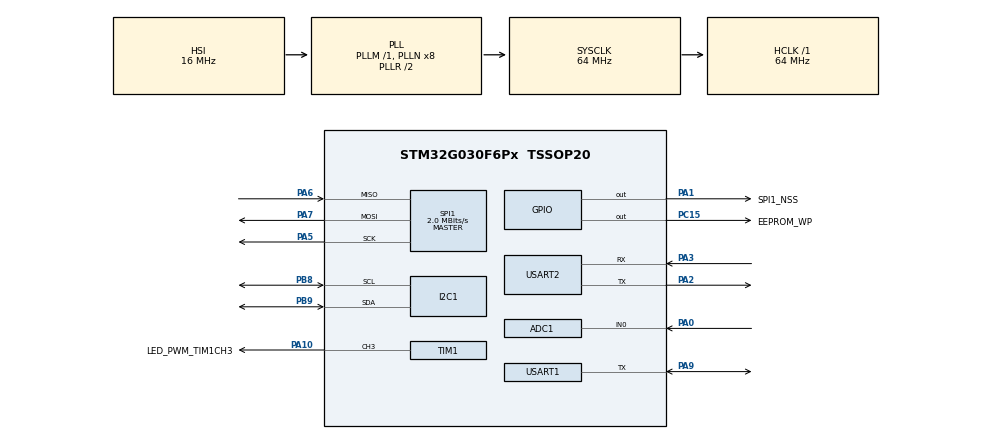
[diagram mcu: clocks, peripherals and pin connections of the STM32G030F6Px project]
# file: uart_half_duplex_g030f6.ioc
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ADC1.Channel-3\#ChannelRegularConversion=ADC_CHANNEL_0
ADC1.NbrOfConversionFlag=1
ADC1.Rank-3\#ChannelRegularConversion=1
ADC1.SamplingTime-3\#ChannelRegularConversion=ADC_SAMPLINGTIME_COMMON_1
ADC1.SelectedChannel=ADC_CHANNEL_0
ADC1.master=1
I2C1.Timing=0x20A0B2D9
Mcu.Family=STM32G0
Mcu.Name=STM32G030F6Px
Mcu.Package=TSSOP20
NVIC.TIM17_IRQn=true\:3\:0\:false\:false\:true\:false\:true\:true
NVIC.TimeBase=TIM17_IRQn
NVIC.TimeBaseIP=TIM17
NVIC.USART1_IRQn=true\:0\:0\:false\:false\:true\:true\:true\:true
PA0.Mode=IN0
PA0.Signal=ADC1_IN0
PA1.GPIO_Label=SPI1_NSS
PA1.PinState=GPIO_PIN_SET
PA1.Signal=GPIO_Output
PA10\ [PA12].GPIO_Label=LED_PWM_TIM1CH3
PA10\ [PA12].Signal=S_TIM1_CH3
PA13.Mode=Serial_Wire
PA13.Signal=SYS_SWDIO
PA14-BOOT0.Mode=Serial_Wire
PA14-BOOT0.Signal=SYS_SWCLK
PA14-BOOT0__PA15.StandardMode=true
PA2.Mode=Asynchronous
PA2.Signal=USART2_TX
PA3.Mode=Asynchronous
PA3.Signal=USART2_RX
PA5.Mode=Full_Duplex_Master
PA5.Signal=SPI1_SCK
PA6.Mode=Full_Duplex_Master
PA6.Signal=SPI1_MISO
PA7.Mode=Full_Duplex_Master
PA7.Signal=SPI1_MOSI
PA9\ [PA11].Mode=Half_duplex(single_wire_mode)
PA9\ [PA11].Signal=USART1_TX
PB0__PB1__PB2__PA8.StandardMode=true
PB3__PB4__PB5__PB6.StandardMode=true
PB7__PB8.StandardMode=true
PB8.GPIO_Pu=GPIO_PULLUP
PB8.Mode=I2C
PB8.Signal=I2C1_SCL
PB9.GPIO_Pu=GPIO_PULLUP
PB9.Mode=I2C
PB9.Signal=I2C1_SDA
PC14-OSC32_IN\ (PC14)__PB9.StandardMode=true
PC15-OSC32_OUT\ (PC15).GPIO_Label=EEPROM_WP
PC15-OSC32_OUT\ (PC15).Signal=GPIO_Output
ProjectManager.HeapSize=0x200
ProjectManager.StackSize=0x400
ProjectManager.TargetToolchain=STM32CubeIDE
RCC.ADCFreq_Value=64000000
RCC.AHBFreq_Value=64000000
RCC.CortexFreq_Value=64000000
RCC.EXTERNAL_CLOCK_VALUE=12288000
RCC.HCLKFreq_Value=64000000
RCC.HSE_VALUE=8000000
RCC.HSI_VALUE=16000000
RCC.LSE_VALUE=32768
RCC.SYSCLKFreq_VALUE=64000000
RCC.SYSCLKSource=RCC_SYSCLKSOURCE_PLLCLK
RCC.VCOOutputFreq_Value=128000000
SH.S_TIM1_CH3.0=TIM1_CH3,PWM Generation3 CH3
SPI1.Direction=SPI_DIRECTION_2LINES
SPI1.Mode=SPI_MODE_MASTER
SPI1.VirtualType=VM_MASTER
SPI1.CalculateBaudRate=2.0 MBits/s
SPI1.BaudRatePrescaler=PRESCALER_DIV_16
SPI1.CLKPolarity=HIGH
SPI1.CLKPhase=2EDGE
SPI1.NSS=SOFT
SPI1.NSSPMode=DISABLE
TIM1.Channel-PWM\ Generation3\ CH3=TIM_CHANNEL_3
TIM1.Period=1000
TIM1.Prescaler=63
USART1.VirtualMode-Half_duplex(single_wire_mode)=VM_ASYNC
USART2.VirtualMode-Asynchronous=VM_ASYNC
VP_SYS_VS_PINREMAP.Mode=PINREMAP
VP_SYS_VS_PINREMAP_10_12.Mode=PINREMAP_10_12
VP_SYS_VS_tim17.Mode=TIM17
board=custom

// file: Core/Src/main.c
/* USER CODE BEGIN Header */
/**
  ******************************************************************************
  * @file           : main.c
  * @brief          : Main program body
  ******************************************************************************
  * @attention
  *
  * Copyright (c) 2026 STMicroelectronics.
  * All rights reserved.
  *
  * This software is licensed under terms that can be found in the LICENSE file
  * in the root directory of this software component.
  * If no LICENSE file comes with this software, it is provided AS-IS.
  *
  ******************************************************************************
  */
/* USER CODE END Header */
#include "main.h"
#include "adc.h"
#include "i2c.h"
#include "spi.h"
#include "tim.h"
#include "usart.h"
#include "gpio.h"

/* USER CODE BEGIN Includes */
#include "mt6816.h"
#include "24c02s.h"
#include "led.h"
#include "volt.h"
#include "uart_protocol.h"
/* USER CODE END Includes */

/* USER CODE BEGIN PV */
uint8_t uartRxByte;   /* USART1 单字节接收缓冲（半双工接收用） */
/* USER CODE END PV */

void SystemClock_Config(void);

int main(void)
{

  /* MCU Configuration--------------------------------------------------------*/

  /* Reset of all peripherals, Initializes the Flash interface and the Systick. */
  HAL_Init();

  /* Configure the system clock */
  SystemClock_Config();

  /* Initialize all configured peripherals */
  MX_GPIO_Init();
  MX_SPI1_Init();
  MX_ADC1_Init();
  MX_I2C1_Init();
  MX_TIM1_Init();
  MX_USART1_UART_Init();
  MX_USART2_UART_Init();
  /* USER CODE BEGIN 2 */
  /* 外设驱动初始化 */
  MT6816_Init();
  EEPROM_Init();
  LED_Init();
  VOLT_Init();
  UART_Protocol_Init();
  /* USER CODE END 2 */

  /* Infinite loop */
  while (1)
  {

    /* USER CODE BEGIN 3 */
    MT6816_Update();
    UART_Protocol_Task();
    LED_Task();
    HAL_Delay(1);
  /* USER CODE END 3 */
  }
}

void SystemClock_Config(void)
{
  RCC_OscInitTypeDef RCC_OscInitStruct = {0};
  RCC_ClkInitTypeDef RCC_ClkInitStruct = {0};

  /** Configure the main internal regulator output voltage
  */
  HAL_PWREx_ControlVoltageScaling(PWR_REGULATOR_VOLTAGE_SCALE1);

  /** Initializes the RCC Oscillators according to the specified parameters
  * in the RCC_OscInitTypeDef structure.
  */
  RCC_OscInitStruct.OscillatorType = RCC_OSCILLATORTYPE_HSI;
  RCC_OscInitStruct.HSIState = RCC_HSI_ON;
  RCC_OscInitStruct.HSIDiv = RCC_HSI_DIV1;
  RCC_OscInitStruct.HSICalibrationValue = RCC_HSICALIBRATION_DEFAULT;
  RCC_OscInitStruct.PLL.PLLState = RCC_PLL_ON;
  RCC_OscInitStruct.PLL.PLLSource = RCC_PLLSOURCE_HSI;
  RCC_OscInitStruct.PLL.PLLM = RCC_PLLM_DIV1;
  RCC_OscInitStruct.PLL.PLLN = 8;
  RCC_OscInitStruct.PLL.PLLP = RCC_PLLP_DIV2;
  RCC_OscInitStruct.PLL.PLLR = RCC_PLLR_DIV2;
  if (HAL_RCC_OscConfig(&RCC_OscInitStruct) != HAL_OK)
  {
    Error_Handler();
  }

  /** Initializes the CPU, AHB and APB buses clocks
  */
  RCC_ClkInitStruct.ClockType = RCC_CLOCKTYPE_HCLK|RCC_CLOCKTYPE_SYSCLK
                              |RCC_CLOCKTYPE_PCLK1;
  RCC_ClkInitStruct.SYSCLKSource = RCC_SYSCLKSOURCE_PLLCLK;
  RCC_ClkInitStruct.AHBCLKDivider = RCC_SYSCLK_DIV1;
  RCC_ClkInitStruct.APB1CLKDivider = RCC_HCLK_DIV1;

  if (HAL_RCC_ClockConfig(&RCC_ClkInitStruct, FLASH_LATENCY_2) != HAL_OK)
  {
    Error_Handler();
  }
}

/* USER CODE BEGIN 4 */
/**
  * @brief  单字节接收完成回调（HAL_UART_Receive_IT 触发，半双工接收用）
  * @note   空闲总线上不会产生字节中断，避免 IDLE 中断风暴饿死 SysTick
  * @param  huart UART 句柄
  */
void HAL_UART_RxCpltCallback(UART_HandleTypeDef *huart)
{
  if (huart->Instance == USART1)
  {
    /* 逐字节喂入帧解析状态机 */
    UART_Protocol_FeedByte(uartRxByte);
    /* 继续接收下一字节 */
    HAL_UART_Receive_IT(&huart1, &uartRxByte, 1);
  }
}
/* USER CODE END 4 */

void Error_Handler(void)
{
  __disable_irq();
  while (1)
  {
  }
}
